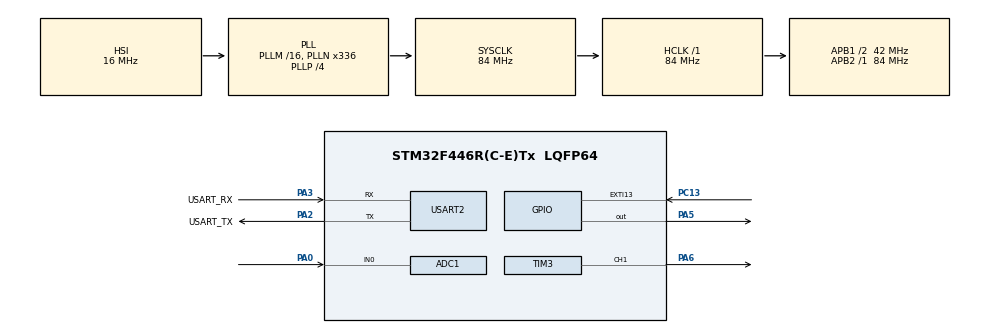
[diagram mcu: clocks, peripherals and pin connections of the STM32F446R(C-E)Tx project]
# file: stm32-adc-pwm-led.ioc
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ADC1.Channel-0\#ChannelRegularConversion=ADC_CHANNEL_0
ADC1.NbrOfConversionFlag=1
ADC1.Rank-0\#ChannelRegularConversion=1
ADC1.SamplingTime-0\#ChannelRegularConversion=ADC_SAMPLETIME_144CYCLES
ADC1.master=1
Mcu.Family=STM32F4
Mcu.Name=STM32F446R(C-E)Tx
Mcu.Package=LQFP64
NUCLEO-F446RE.BUTTON=1
NUCLEO-F446RE.LD1=true
NVIC.EXTI15_10_IRQn=true\:0\:0\:false\:false\:true\:false\:true\:true
NVIC.PriorityGroup=NVIC_PRIORITYGROUP_0
PA0-WKUP.Signal=ADCx_IN0
PA13.GPIO_Label=TMS
PA13.Signal=SYS_JTMS-SWDIO
PA14.GPIO_Label=TCK
PA14.Signal=SYS_JTCK-SWCLK
PA2.GPIO_Label=USART_TX
PA2.Mode=Asynchronous
PA2.Signal=USART2_TX
PA3.GPIO_Label=USART_RX
PA3.Mode=Asynchronous
PA3.Signal=USART2_RX
PA5.Signal=GPIO_Output
PA6.Signal=S_TIM3_CH1
PB3.GPIO_Label=SWO
PB3.Signal=SYS_JTDO-SWO
PC13.Signal=GPXTI13
PC14-OSC32_IN.Signal=RCC_OSC32_IN
PC15-OSC32_OUT.Signal=RCC_OSC32_OUT
PH0-OSC_IN.Signal=RCC_OSC_IN
PH1-OSC_OUT.Signal=RCC_OSC_OUT
ProjectManager.HeapSize=0x200
ProjectManager.StackSize=0x400
ProjectManager.TargetToolchain=STM32CubeIDE
RCC.AHBFreq_Value=84000000
RCC.APB1CLKDivider=RCC_HCLK_DIV2
RCC.APB1Freq_Value=42000000
RCC.APB1TimFreq_Value=84000000
RCC.APB2Freq_Value=84000000
RCC.APB2TimFreq_Value=84000000
RCC.CortexFreq_Value=84000000
RCC.FLatency-AdvancedSettings=FLASH_LATENCY_2
RCC.HCLKFreq_Value=84000000
RCC.HSE_VALUE=8000000
RCC.HSI_VALUE=16000000
RCC.LSE_VALUE=32768
RCC.PLLN=336
RCC.PLLP=RCC_PLLP_DIV4
RCC.SYSCLKFreq_VALUE=84000000
RCC.SYSCLKSource=RCC_SYSCLKSOURCE_PLLCLK
RCC.USBFreq_Value=168000000
RCC.VCOOutputFreq_Value=336000000
SH.ADCx_IN0.0=ADC1_IN0,IN0
SH.S_TIM3_CH1.0=TIM3_CH1,PWM Generation1 CH1
TIM3.Channel-PWM\ Generation1\ CH1=TIM_CHANNEL_1
TIM3.Period=999
TIM3.Prescaler=83
USART2.VirtualMode=VM_ASYNC
VP_NUCLEO-F446RE_VS_BSP_COMMON.Mode=COMMON
board=NUCLEO-F446RE

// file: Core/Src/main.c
/* USER CODE BEGIN Header */
/**
 ******************************************************************************
 * @file           : main.c
 * @brief          : Main program body
 ******************************************************************************
 * @attention
 *
 * Copyright (c) 2026 STMicroelectronics.
 * All rights reserved.
 *
 * This software is licensed under terms that can be found in the LICENSE file
 * in the root directory of this software component.
 * If no LICENSE file comes with this software, it is provided AS-IS.
 *
 ******************************************************************************
 */
/* USER CODE END Header */
#include "main.h"

/* USER CODE BEGIN Includes */

#include <stdio.h>
#include <string.h>

/* USER CODE END Includes */

ADC_HandleTypeDef hadc1;

TIM_HandleTypeDef htim3;

UART_HandleTypeDef huart2;

/* USER CODE BEGIN PV */

// 4096 = 2^12 = 0-4095
uint32_t adc_data = 0; //0-4095
uint32_t pwm_value = 0; // 0-4095

float duty_cycle = 0.0f;

char uart_buffer[100];

/* USER CODE END PV */

void SystemClock_Config(void);
static void MX_GPIO_Init(void);
static void MX_ADC1_Init(void);
static void MX_TIM3_Init(void);
static void MX_USART2_UART_Init(void);

int main(void) {

	/* MCU Configuration--------------------------------------------------------*/

	/* Reset of all peripherals, Initializes the Flash interface and the Systick. */
	HAL_Init();

	/* Configure the system clock */
	SystemClock_Config();

	/* Initialize all configured peripherals */
	MX_GPIO_Init();
	MX_ADC1_Init();
	MX_TIM3_Init();
	MX_USART2_UART_Init();
	/* USER CODE BEGIN 2 */

	HAL_TIM_PWM_Start(&htim3, TIM_CHANNEL_1);

	/* USER CODE END 2 */

	/* Initialize leds */
	BSP_LED_Init(LED2);

	/* Initialize USER push-button, will be used to trigger an interrupt each time it's pressed.*/
	BSP_PB_Init(BUTTON_USER, BUTTON_MODE_EXTI);

	/* Infinite loop */
	while (1) {

		/* USER CODE BEGIN 3 */
		if (HAL_ADC_Start(&hadc1) == HAL_OK) {
			if (HAL_ADC_PollForConversion(&hadc1, 100) == HAL_OK) {
				adc_data = HAL_ADC_GetValue(&hadc1);

				// Convert ADC value to PWM value
				pwm_value = (adc_data * 999U) / 4095U;

				// Update PWM duty cycle
				__HAL_TIM_SET_COMPARE(&htim3, TIM_CHANNEL_1, pwm_value);

				// Calculate duty cycle percentage
				duty_cycle = (float) pwm_value * 100.0f / 1000.0f;

				// Format UART message
				snprintf(uart_buffer, sizeof(uart_buffer),
						"ADC: %lu | PWM: %lu | Duty: %.1f%%\r\n", adc_data,
						pwm_value, duty_cycle);

				// Send UART message
				HAL_UART_Transmit(&huart2, (uint8_t*) uart_buffer,
						strlen(uart_buffer),
						HAL_MAX_DELAY);
			}

			HAL_ADC_Stop(&hadc1);
		}

		HAL_Delay(100);
	}

//	ADC: 1892 | PWM: 461 | Duty: 46.1%
//	ADC: 1737 | PWM: 423 | Duty: 42.3%
//	ADC: 1596 | PWM: 389 | Duty: 38.9%
//	ADC: 1446 | PWM: 352 | Duty: 35.2%
//	ADC: 1288 | PWM: 314 | Duty: 31.4%
//	ADC: 1213 | PWM: 295 | Duty: 29.5%
//	ADC: 1202 | PWM: 293 | Duty: 29.3%
//	ADC: 1226 | PWM: 299 | Duty: 29.9%
//	ADC: 1209 | PWM: 294 | Duty: 29.4%
//	ADC: 1201 | PWM: 292 | Duty: 29.2%
//	ADC: 1208 | PWM: 294 | Duty: 29.4%
//	ADC: 1196 | PWM: 291 | Duty: 29.1%
//	ADC: 1166 | PWM: 284 | Duty: 28.4%
//	ADC: 1082 | PWM: 263 | Duty: 26.3%
//	ADC: 967 | PWM: 235 | Duty: 23.5%
//	ADC: 781 | PWM: 190 | Duty: 19.0%
//	ADC: 593 | PWM: 144 | Duty: 14.4%
//	ADC: 374 | PWM: 91 | Duty: 9.1%
//	ADC: 123 | PWM: 30 | Duty: 3.0%
//	ADC: 2 | PWM: 0 | Duty: 0.0%
//	ADC: 1 | PWM: 0 | Duty: 0.0%
//	ADC: 2 | PWM: 0 | Duty: 0.0%
//	ADC: 1 | PWM: 0 | Duty: 0.0%
//	ADC: 2 | PWM: 0 | Duty: 0.0%
//	ADC: 1 | PWM: 0 | Duty: 0.0%
//	ADC: 1 | PWM: 0 | Duty: 0.0%
//	ADC: 2 | PWM: 0 | Duty: 0.0%
//	ADC: 0 | PWM: 0 | Duty: 0.0%
//	ADC: 1 | PWM: 0 | Duty: 0.0%
//	ADC: 1 | PWM: 0 | Duty: 0.0%
//	ADC: 0 | PWM: 0 | Duty: 0.0%
//	ADC: 0 | PWM: 0 | Duty: 0.0%
//	ADC: 1 | PWM: 0 | Duty: 0.0%
//	ADC: 3 | PWM: 0 | Duty: 0.0%
//	ADC: 1 | PWM: 0 | Duty: 0.0%
//	ADC: 1 | PWM: 0 | Duty: 0.0%
//	ADC: 1 | PWM: 0 | Duty: 0.0%
//	ADC: 2 | PWM: 0 | Duty: 0.0%
//	ADC: 1 | PWM: 0 | Duty: 0.0%
//	ADC: 1 | PWM: 0 | Duty: 0.0%
//	ADC: 5 | PWM: 1 | Duty: 0.1%
//	ADC: 1 | PWM: 0 | Duty: 0.0%
//	ADC: 2 | PWM: 0 | Duty: 0.0%
//	ADC: 2 | PWM: 0 | Duty: 0.0%
//	ADC: 1 | PWM: 0 | Duty: 0.0%
//	ADC: 2 | PWM: 0 | Duty: 0.0%
//	ADC: 1 | PWM: 0 | Duty: 0.0%
//	ADC: 3 | PWM: 0 | Duty: 0.0%
//	ADC: 0 | PWM: 0 | Duty: 0.0%
//	ADC: 2 | PWM: 0 | Duty: 0.0%
//	ADC: 4 | PWM: 0 | Duty: 0.0%
//	ADC: 6 | PWM: 1 | Duty: 0.1%
//	ADC: 0 | PWM: 0 | Duty: 0.0%
//	ADC: 0 | PWM: 0 | Duty: 0.0%
//	ADC: 2 | PWM: 0 | Duty: 0.0%
//	ADC: 1 | PWM: 0 | Duty: 0.0%
//	ADC: 1 | PWM: 0 | Duty: 0.0%
//	ADC: 2 | PWM: 0 | Duty: 0.0%
//	ADC: 38 | PWM: 9 | Duty: 0.9%
//	ADC: 124 | PWM: 30 | Duty: 3.0%
//	ADC: 213 | PWM: 51 | Duty: 5.1%
//	ADC: 304 | PWM: 74 | Duty: 7.4%
//	ADC: 380 | PWM: 92 | Duty: 9.2%
//	ADC: 463 | PWM: 112 | Duty: 11.2%
//	ADC: 547 | PWM: 133 | Duty: 13.3%
//	ADC: 640 | PWM: 156 | Duty: 15.6%
//	ADC: 733 | PWM: 178 | Duty: 17.8%
//	ADC: 816 | PWM: 199 | Duty: 19.9%
//	ADC: 930 | PWM: 226 | Duty: 22.6%
//	ADC: 1036 | PWM: 252 | Duty: 25.2%
//	ADC: 1090 | PWM: 265 | Duty: 26.5%
//	ADC: 1078 | PWM: 262 | Duty: 26.2%
//	ADC: 1094 | PWM: 266 | Duty: 26.6%
//	ADC: 1082 | PWM: 263 | Duty: 26.3%
//	ADC: 1088 | PWM: 265 | Duty: 26.5%
//	ADC: 1112 | PWM: 271 | Duty: 27.1%
//	ADC: 1187 | PWM: 289 | Duty: 28.9%
//	ADC: 1312 | PWM: 320 | Duty: 32.0%
//	ADC: 1460 | PWM: 356 | Duty: 35.6%
//	ADC: 1627 | PWM: 396 | Duty: 39.6%
//	ADC: 1811 | PWM: 441 | Duty: 44.1%
//	ADC: 1993 | PWM: 486 | Duty: 48.6%
//	ADC: 2130 | PWM: 519 | Duty: 51.9%
//	ADC: 2228 | PWM: 543 | Duty: 54.3%
//	ADC: 2311 | PWM: 563 | Duty: 56.3%
//	ADC: 2319 | PWM: 565 | Duty: 56.5%
//	ADC: 2328 | PWM: 567 | Duty: 56.7%
//	ADC: 2334 | PWM: 569 | Duty: 56.9%
//	ADC: 2326 | PWM: 567 | Duty: 56.7%
//	ADC: 2389 | PWM: 582 | Duty: 58.2%
//	ADC: 2475 | PWM: 603 | Duty: 60.3%
//	ADC: 2585 | PWM: 630 | Duty: 63.0%
//	ADC: 2732 | PWM: 666 | Duty: 66.6%
//	ADC: 2934 | PWM: 715 | Duty: 71.5%
//	ADC: 3145 | PWM: 767 | Duty: 76.7%
//	ADC: 3361 | PWM: 819 | Duty: 81.9%
//	ADC: 3532 | PWM: 861 | Duty: 86.1%
//	ADC: 3618 | PWM: 882 | Duty: 88.2%
//	ADC: 3623 | PWM: 883 | Duty: 88.3%
//	ADC: 3630 | PWM: 885 | Duty: 88.5%
//	ADC: 3600 | PWM: 878 | Duty: 87.8%
//	ADC: 3637 | PWM: 887 | Duty: 88.7%
//	ADC: 3686 | PWM: 899 | Duty: 89.9%
//	ADC: 3800 | PWM: 927 | Duty: 92.7%
//	ADC: 3962 | PWM: 966 | Duty: 96.6%
//	ADC: 4095 | PWM: 999 | Duty: 99.9%
//	ADC: 4095 | PWM: 999 | Duty: 99.9%
//	ADC: 4095 | PWM: 999 | Duty: 99.9%
//	ADC: 4095 | PWM: 999 | Duty: 99.9%
//	ADC: 4094 | PWM: 998 | Duty: 99.8%
//	ADC: 4095 | PWM: 999 | Duty: 99.9%
//	ADC: 4095 | PWM: 999 | Duty: 99.9%
//	ADC: 4095 | PWM: 999 | Duty: 99.9%
//	ADC: 4095 | PWM: 999 | Duty: 99.9%
//	ADC: 4095 | PWM: 999 | Duty: 99.9%
//	ADC: 4090 | PWM: 997 | Duty: 99.7%
//	ADC: 4095 | PWM: 999 | Duty: 99.9%
//	ADC: 4095 | PWM: 999 | Duty: 99.9%
//	ADC: 4095 | PWM: 999 | Duty: 99.9%
//	ADC: 4095 | PWM: 999 | Duty: 99.9%
//	ADC: 4095 | PWM: 999 | Duty: 99.9%
//	ADC: 4094 | PWM: 998 | Duty: 99.8%
//	ADC: 4095 | PWM: 999 | Duty: 99.9%
//	ADC: 4064 | PWM: 991 | Duty: 99.1%
//	ADC: 4095 | PWM: 999 | Duty: 99.9%
//	ADC: 4094 | PWM: 998 | Duty: 99.8%
//	ADC: 4095 | PWM: 999 | Duty: 99.9%
//	ADC: 4094 | PWM: 998 | Duty: 99.8%
//	ADC: 4095 | PWM: 999 | Duty: 99.9%
//	ADC: 4095 | PWM: 999 | Duty: 99.9%
//	ADC: 4095 | PWM: 999 | Duty: 99.9%

	/* USER CODE END 3 */
}

void SystemClock_Config(void) {
	RCC_OscInitTypeDef RCC_OscInitStruct = { 0 };
	RCC_ClkInitTypeDef RCC_ClkInitStruct = { 0 };

	/** Configure the main internal regulator output voltage
	 */
	__HAL_RCC_PWR_CLK_ENABLE();
	__HAL_PWR_VOLTAGESCALING_CONFIG(PWR_REGULATOR_VOLTAGE_SCALE3);

	/** Initializes the RCC Oscillators according to the specified parameters
	 * in the RCC_OscInitTypeDef structure.
	 */
	RCC_OscInitStruct.OscillatorType = RCC_OSCILLATORTYPE_HSI;
	RCC_OscInitStruct.HSIState = RCC_HSI_ON;
	RCC_OscInitStruct.HSICalibrationValue = RCC_HSICALIBRATION_DEFAULT;
	RCC_OscInitStruct.PLL.PLLState = RCC_PLL_ON;
	RCC_OscInitStruct.PLL.PLLSource = RCC_PLLSOURCE_HSI;
	RCC_OscInitStruct.PLL.PLLM = 16;
	RCC_OscInitStruct.PLL.PLLN = 336;
	RCC_OscInitStruct.PLL.PLLP = RCC_PLLP_DIV4;
	RCC_OscInitStruct.PLL.PLLQ = 2;
	RCC_OscInitStruct.PLL.PLLR = 2;
	if (HAL_RCC_OscConfig(&RCC_OscInitStruct) != HAL_OK) {
		Error_Handler();
	}

	/** Initializes the CPU, AHB and APB buses clocks
	 */
	RCC_ClkInitStruct.ClockType = RCC_CLOCKTYPE_HCLK | RCC_CLOCKTYPE_SYSCLK
			| RCC_CLOCKTYPE_PCLK1 | RCC_CLOCKTYPE_PCLK2;
	RCC_ClkInitStruct.SYSCLKSource = RCC_SYSCLKSOURCE_PLLCLK;
	RCC_ClkInitStruct.AHBCLKDivider = RCC_SYSCLK_DIV1;
	RCC_ClkInitStruct.APB1CLKDivider = RCC_HCLK_DIV2;
	RCC_ClkInitStruct.APB2CLKDivider = RCC_HCLK_DIV1;

	if (HAL_RCC_ClockConfig(&RCC_ClkInitStruct, FLASH_LATENCY_2) != HAL_OK) {
		Error_Handler();
	}
}

static void MX_ADC1_Init(void) {

	ADC_ChannelConfTypeDef sConfig = { 0 };

	/** Configure the global features of the ADC (Clock, Resolution, Data Alignment and number of conversion)
	 */
	hadc1.Instance = ADC1;
	hadc1.Init.ClockPrescaler = ADC_CLOCK_SYNC_PCLK_DIV4;
	hadc1.Init.Resolution = ADC_RESOLUTION_12B;
	hadc1.Init.ScanConvMode = DISABLE;
	hadc1.Init.ContinuousConvMode = DISABLE;
	hadc1.Init.DiscontinuousConvMode = DISABLE;
	hadc1.Init.ExternalTrigConvEdge = ADC_EXTERNALTRIGCONVEDGE_NONE;
	hadc1.Init.ExternalTrigConv = ADC_SOFTWARE_START;
	hadc1.Init.DataAlign = ADC_DATAALIGN_RIGHT;
	hadc1.Init.NbrOfConversion = 1;
	hadc1.Init.DMAContinuousRequests = DISABLE;
	hadc1.Init.EOCSelection = ADC_EOC_SINGLE_CONV;
	if (HAL_ADC_Init(&hadc1) != HAL_OK) {
		Error_Handler();
	}

	/** Configure for the selected ADC regular channel its corresponding rank in the sequencer and its sample time.
	 */
	sConfig.Channel = ADC_CHANNEL_0;
	sConfig.Rank = 1;
	sConfig.SamplingTime = ADC_SAMPLETIME_144CYCLES;
	if (HAL_ADC_ConfigChannel(&hadc1, &sConfig) != HAL_OK) {
		Error_Handler();
	}

}

static void MX_TIM3_Init(void) {

	TIM_MasterConfigTypeDef sMasterConfig = { 0 };
	TIM_OC_InitTypeDef sConfigOC = { 0 };

	htim3.Instance = TIM3;
	htim3.Init.Prescaler = 83;
	htim3.Init.CounterMode = TIM_COUNTERMODE_UP;
	htim3.Init.Period = 999;
	htim3.Init.ClockDivision = TIM_CLOCKDIVISION_DIV1;
	htim3.Init.AutoReloadPreload = TIM_AUTORELOAD_PRELOAD_DISABLE;
	if (HAL_TIM_PWM_Init(&htim3) != HAL_OK) {
		Error_Handler();
	}
	sMasterConfig.MasterOutputTrigger = TIM_TRGO_RESET;
	sMasterConfig.MasterSlaveMode = TIM_MASTERSLAVEMODE_DISABLE;
	if (HAL_TIMEx_MasterConfigSynchronization(&htim3, &sMasterConfig)
			!= HAL_OK) {
		Error_Handler();
	}
	sConfigOC.OCMode = TIM_OCMODE_PWM1;
	sConfigOC.Pulse = 0;
	sConfigOC.OCPolarity = TIM_OCPOLARITY_HIGH;
	sConfigOC.OCFastMode = TIM_OCFAST_DISABLE;
	if (HAL_TIM_PWM_ConfigChannel(&htim3, &sConfigOC, TIM_CHANNEL_1)
			!= HAL_OK) {
		Error_Handler();
	}
	HAL_TIM_MspPostInit(&htim3);

}

static void MX_USART2_UART_Init(void) {

	huart2.Instance = USART2;
	huart2.Init.BaudRate = 115200;
	huart2.Init.WordLength = UART_WORDLENGTH_8B;
	huart2.Init.StopBits = UART_STOPBITS_1;
	huart2.Init.Parity = UART_PARITY_NONE;
	huart2.Init.Mode = UART_MODE_TX_RX;
	huart2.Init.HwFlowCtl = UART_HWCONTROL_NONE;
	huart2.Init.OverSampling = UART_OVERSAMPLING_16;
	if (HAL_UART_Init(&huart2) != HAL_OK) {
		Error_Handler();
	}

}

static void MX_GPIO_Init(void) {

	/* GPIO Ports Clock Enable */
	__HAL_RCC_GPIOC_CLK_ENABLE();
	__HAL_RCC_GPIOH_CLK_ENABLE();
	__HAL_RCC_GPIOA_CLK_ENABLE();
	__HAL_RCC_GPIOB_CLK_ENABLE();

}

void Error_Handler(void) {
	__disable_irq();
	while (1) {
	}
}
